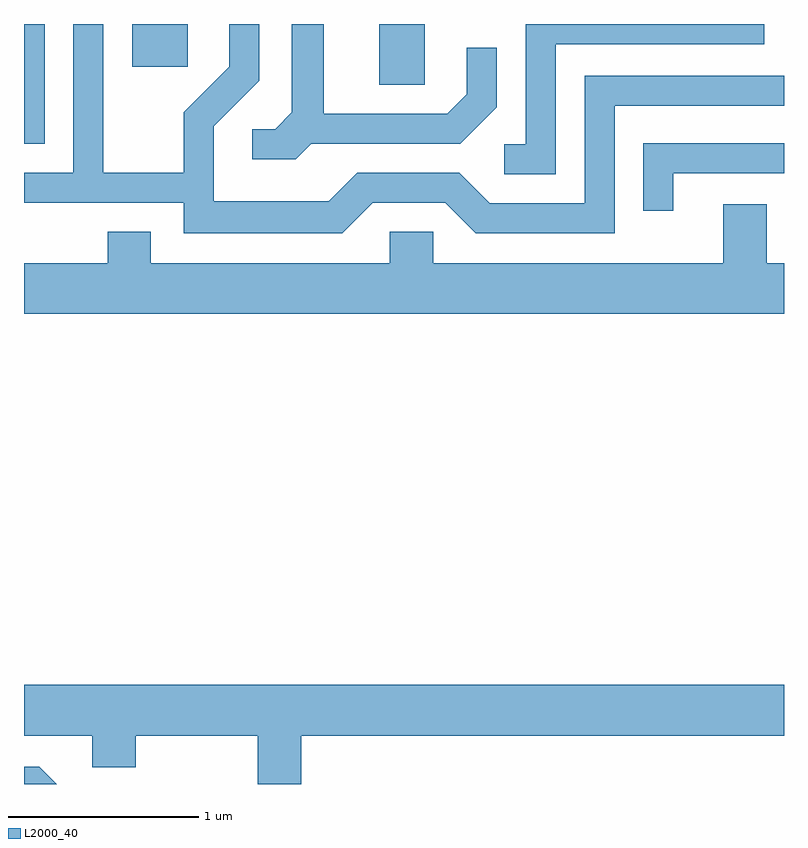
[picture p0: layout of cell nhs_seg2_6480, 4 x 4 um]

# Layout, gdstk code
import gdstk
lib = gdstk.Library(unit=1e-6, precision=1e-09)
def R(c, l, rs):  # rectangles x0, y0, x1, y1
    for r in rs: c.add(gdstk.rectangle(r[:2], r[2:], *l))
def P(c, l, *ps):  # polygons
    for p in ps: c.add(gdstk.Polygon(p, *l))
L2000_40 = (2000, 40)

nhs_seg2_6480 = lib.new_cell('nhs_seg2_6480')
R(nhs_seg2_6480, L2000_40, [(375.611,1089.171,375.719,1089.802), (377.481,1089.481,377.719,1089.802), (376.181,1089.576,376.474,1089.802)])
P(nhs_seg2_6480, L2000_40, [(377.447,1088.861),(377.829,1088.861),(377.989,1088.701),(378.719,1088.701),(378.719,1089.371),(379.611,1089.371),(379.611,1089.529),(378.561,1089.529),(378.561,1088.859),(378.062,1088.859),(377.902,1089.019),(377.364,1089.019),(377.214,1088.869),(376.609,1088.869),(376.609,1089.264),(376.849,1089.504),(376.849,1089.802),(376.691,1089.802),(376.691,1089.577),(376.451,1089.337),(376.451,1089.019),(376.029,1089.019),(376.029,1089.802),(375.871,1089.802),(375.871,1089.019),(375.611,1089.019),(375.611,1088.861),(376.451,1088.861),(376.451,1088.701),(377.287,1088.701)],
  [(378.409,1089.696),(379.508,1089.696),(379.508,1089.802),(378.251,1089.802),(378.251,1089.169),(378.138,1089.169),(378.138,1089.011),(378.409,1089.011)],
  [(377.122,1089.171),(377.907,1089.171),(378.099,1089.364),(378.099,1089.678),(377.941,1089.678),(377.941,1089.432),(377.839,1089.329),(377.189,1089.329),(377.189,1089.802),(377.021,1089.802),(377.021,1089.337),(376.934,1089.249),(376.813,1089.249),(376.813,1089.091),(377.042,1089.091)],
  [(379.029,1089.016),(379.611,1089.016),(379.611,1089.174),(378.871,1089.174),(378.871,1088.818),(379.029,1088.818)],
  [(379.611,1088.544),(379.519,1088.544),(379.519,1088.854),(379.291,1088.854),(379.291,1088.544),(377.764,1088.544),(377.764,1088.709),(377.536,1088.709),(377.536,1088.544),(376.279,1088.544),(376.279,1088.709),(376.051,1088.709),(376.051,1088.544),(375.611,1088.544),(375.611,1088.276),(379.611,1088.276)],
  [(377.069,1086.056),(379.611,1086.056),(379.611,1086.324),(375.611,1086.324),(375.611,1086.056),(375.971,1086.056),(375.971,1085.891),(376.199,1085.891),(376.199,1086.056),(376.841,1086.056),(376.841,1085.802),(377.069,1085.802)],
  [(375.692,1085.894),(375.611,1085.894),(375.611,1085.802),(375.784,1085.802)])

lib.write_gds('nhs_seg2_6480.gds')
